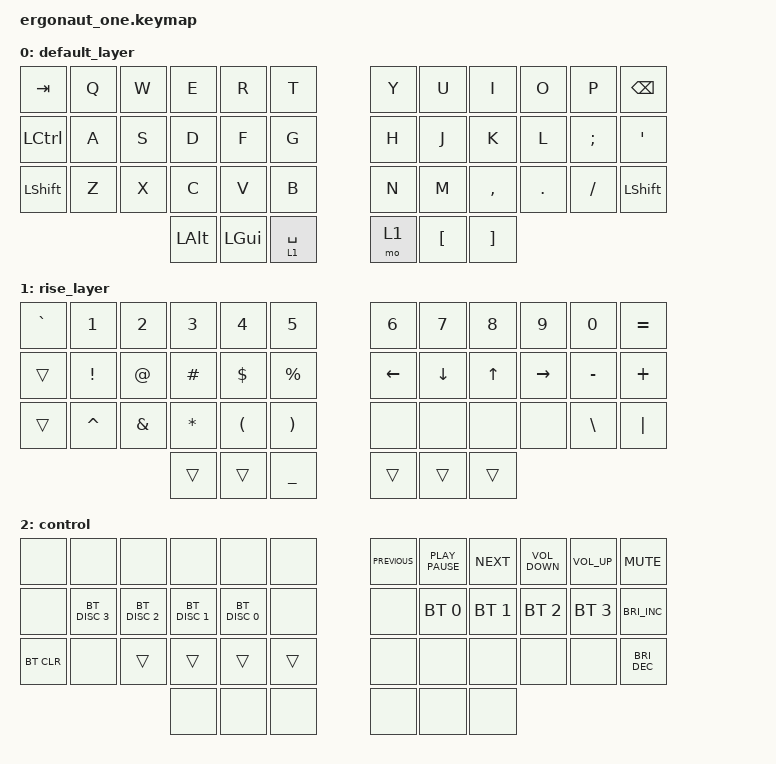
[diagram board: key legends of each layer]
#include <behaviors.dtsi>
#include <dt-bindings/zmk/bt.h>
#include <dt-bindings/zmk/keys.h>

#define DEF 0
#define LWR 1
#define RSE 2
#define ADJ 3

&lt {
    quick-tap-ms = <200>;
    flavor = "hold-preferred";
};

&mt {
    require-prior-idle-ms = <350>;
    flavor = "hold-preferred";
    tapping-term-ms = <250>;
};

/ {
    conditional_layers { compatible = "zmk,conditional-layers"; };

    combos {
        compatible = "zmk,combos";

        bootloader {
            bindings = <&bootloader>;
            key-positions = <0 24 5 29>;
            layers = <0>;
            require-prior-idle-ms = <900>;
        };

        prtscr {
            bindings = <&kp PRINTSCREEN>;
            key-positions = <0 24>;
        };

        alt_backspace {
            bindings = <&kp LA(BACKSPACE)>;
            key-positions = <11 10>;
        };

        super_backspce {
            bindings = <&kp CAPSLOCK>;
            key-positions = <21 19 20>;
        };

        control_layer {
            bindings = <&mo 2>;
            key-positions = <40 30>;
        };

        enter {
            bindings = <&kp ENTER>;
            key-positions = <21 20>;
        };

        escape {
            bindings = <&kp ESCAPE>;
            key-positions = <14 15>;
        };

        SUPER {
            bindings = <&sk LS(LA(LC(LGUI)))>;
            key-positions = <16 15>;
        };

        cmd_backspace {
            bindings = <&kp LG(BACKSPACE)>;
            key-positions = <9 10 11>;
        };

        another_super {
            bindings = <&sk LS(LA(LC(LGUI)))>;
            key-positions = <19 20>;
        };
    };

    keymap {
        compatible = "zmk,keymap";

        default_layer {
            bindings = <
&kp TAB           &kp Q  &kp W  &kp E         &kp R         &kp T        &kp Y  &kp U             &kp I              &kp O    &kp P          &kp BACKSPACE
&kp LEFT_CONTROL  &kp A  &kp S  &kp D         &kp F         &kp G        &kp H  &kp J             &kp K              &kp L    &kp SEMICOLON  &kp SQT
&kp LEFT_SHIFT    &kp Z  &kp X  &kp C         &kp V         &kp B        &kp N  &kp M             &kp COMMA          &kp DOT  &kp FSLH       &kp LEFT_SHIFT
                                &kp LEFT_ALT  &kp LEFT_GUI  &lt 1 SPACE  &mo 1  &kp LEFT_BRACKET  &kp RIGHT_BRACKET
            >;
        };

        rise_layer {
            bindings = <
&kp GRAVE  &kp NUMBER_1  &kp NUMBER_2   &kp NUMBER_3  &kp NUMBER_4          &kp N5                 &kp NUMBER_6    &kp N7          &kp N8        &kp N9           &kp N0         &kp EQUAL
&trans     &kp EXCL      &kp AT         &kp HASH      &kp DOLLAR            &kp PERCENT            &kp LEFT_ARROW  &kp DOWN_ARROW  &kp UP_ARROW  &kp RIGHT_ARROW  &kp MINUS      &kp PLUS
&trans     &kp CARET     &kp AMPERSAND  &kp ASTERISK  &kp LEFT_PARENTHESIS  &kp RIGHT_PARENTHESIS  &none           &none           &none         &none            &kp BACKSLASH  &kp PIPE
                                        &trans        &trans                &kp UNDER              &trans          &trans          &trans
            >;
        };

        control {
            bindings = <
&none       &none          &none          &none          &none          &none   &kp K_PREVIOUS  &kp K_PLAY_PAUSE  &kp K_NEXT    &kp C_VOLUME_DOWN  &kp C_VOLUME_UP  &kp K_MUTE
&none       &bt BT_DISC 3  &bt BT_DISC 2  &bt BT_DISC 1  &bt BT_DISC 0  &none   &none           &bt BT_SEL 0      &bt BT_SEL 1  &bt BT_SEL 2       &bt BT_SEL 3     &kp C_BRIGHTNESS_INC
&bt BT_CLR  &none          &trans         &trans         &trans         &trans  &none           &none             &none         &none              &none            &kp C_BRIGHTNESS_DEC
                                          &none          &none          &none   &none           &none             &none
            >;
        };
    };
};
